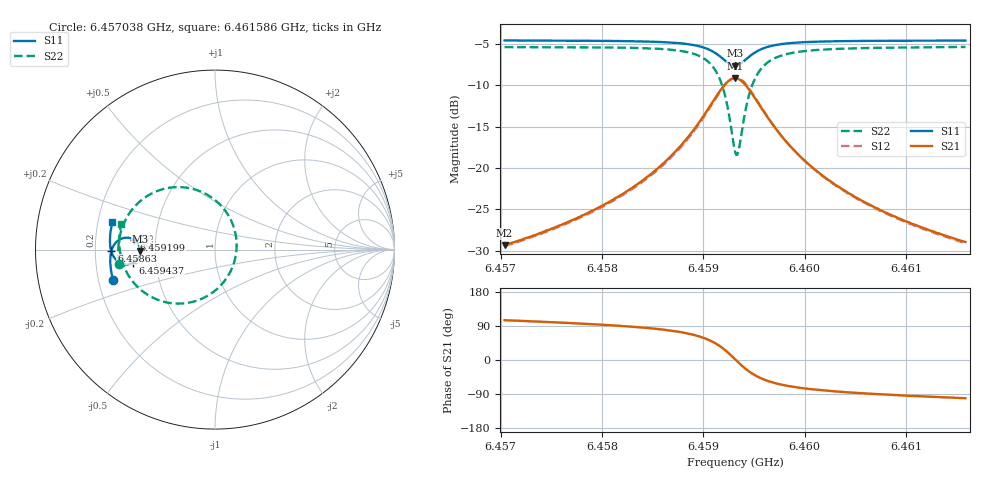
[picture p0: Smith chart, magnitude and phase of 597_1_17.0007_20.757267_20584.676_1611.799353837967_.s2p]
#  HZ  S  RI  R  50.00
! Rohde & Schwarz Vector Network Analyzer
! Rohde-Schwarz,ZNB20-2Port,1311601062101988,3.16
! Created: UTC 3/20/2024, 11:18:52 PM
! freq[Hz]  re:S11  im:S11  re:S21  im:S21  re:S12  im:S12  re:S22  im:S22
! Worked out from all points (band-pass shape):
!   401 points, 6.457038 GHz to 6.461586 GHz, reference 50 ohm
!   highest |S21| = -9.13 dB at 6.459312 GHz (marker M1); lowest = -29.4 dB at 6.457038 GHz (marker M2)
!   |S21| within 3 dB of the highest: 6.459085 GHz to 6.459541 GHz (455.3 kHz wide, 0.00705 % of centre)
!   lowest |S11| = -7.6 dB at 6.459312 GHz (marker M3), VSWR 2.43, Z = 20.6 - j0.396 ohm
!   |S11| at or under -10 dB: nowhere
!   |S22| runs from -18.4 to -5.3 dB; largest |S21 - S12| = 0.014
!   S11 on the Smith chart (normalised r, x): 6.457038 GHz: 0.26, -0.13; 6.45863 GHz: 0.27, -0.01; 6.459199 GHz: 0.38, +0.05; 6.459437 GHz: 0.37, -0.07; 6.461586 GHz: 0.26, +0.12
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6.4570381e9  -0.5679 -0.1675  -0.00882 0.0328  -0.00701 0.0329  -0.534 -0.0792
6.4577999e9  -0.5813 -0.1005  -0.00533 0.0511  -0.00265 0.0504  -0.5383 0.0109
6.458232e9  -0.5839 -0.057  0.00113 0.0715  0.00449 0.07  -0.529 0.0805
6.4585618e9  -0.5798 -0.017  0.015 0.0999  0.019 0.0971  -0.5033 0.1562
6.45863e9  -0.5775 -0.00756  0.0206 0.1082  0.0246 0.105  -0.493 0.1762
6.4588233e9  -0.5646 0.0228  0.0475 0.1394  0.0516 0.1343  -0.4422 0.2459
6.4589711e9  -0.5416 0.0491  0.0935 0.17  0.0965 0.1632  -0.3575 0.3103
6.4591076e9  -0.4974 0.0662  0.1814 0.1863  0.1823 0.1787  -0.1962 0.3483
6.4591986e9  -0.4524 0.0557  0.2721 0.1545  0.2723 0.1486  -0.0282 0.2965
6.4592668e9  -0.423 0.0233  0.3329 0.0817  0.3351 0.0764  0.0883 0.1654
6.4593123e9  -0.4162 -0.00794  0.3494 0.013  0.3531 0.00608  0.1206 0.0368
6.4593464e9  -0.4201 -0.0319  0.3435 -0.0399  0.3475 -0.0491  0.1088 -0.064
6.4593919e9  -0.436 -0.0584  0.3144 -0.1004  0.3169 -0.1126  0.05 -0.1786
6.4594374e9  -0.4581 -0.075  0.2718 -0.1419  0.2711 -0.1554  -0.0363 -0.2544
6.4594828e9  -0.4814 -0.082  0.2268 -0.1645  0.2229 -0.1778  -0.127 -0.2918
6.4595283e9  -0.502 -0.082  0.186 -0.1732  0.1797 -0.1851  -0.2078 -0.3009
6.4596761e9  -0.5463 -0.0614  0.0968 -0.1591  0.0882 -0.1654  -0.3777 -0.2503
6.4598353e9  -0.5681 -0.0336  0.0514 -0.1305  0.0437 -0.1334  -0.4591 -0.1769
6.4600741e9  -0.5809 0.00191  0.0222 -0.0985  0.0163 -0.0991  -0.5073 -0.0935
6.4604039e9  -0.5854 0.0415  0.00647 -0.072  0.00226 -0.0716  -0.5285 -0.016
6.460836e9  -0.5834 0.0853  -0.00161 -0.0524  -0.00456 -0.0516  -0.5327 0.0547
6.4615865e9  -0.5713 0.1519  -0.00666 -0.035  -0.00835 -0.034  -0.5213 0.1441
